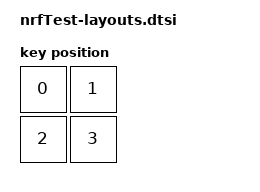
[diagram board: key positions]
#include <physical_layouts.dtsi>
#include <nrfTest.overlay>

/ {
    physical_layout0: physical_layout_0 {
        compatible = "zmk,physical-layout";
        display-name = "Default Layout";
        transform = <&default_kscan>;
        kscan = <&default_transform>;

        keys  //                     w   h x y rot rx ry
            = <&key_physical_attrs 100 100 0 0   0  0  0>, <&key_physical_attrs 100 100 100 0   0  0  0>,
              <&key_physical_attrs 100 100 0 100 0  0  0>, <&key_physical_attrs 100 100 100 100 0  0  0>;
    };
};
